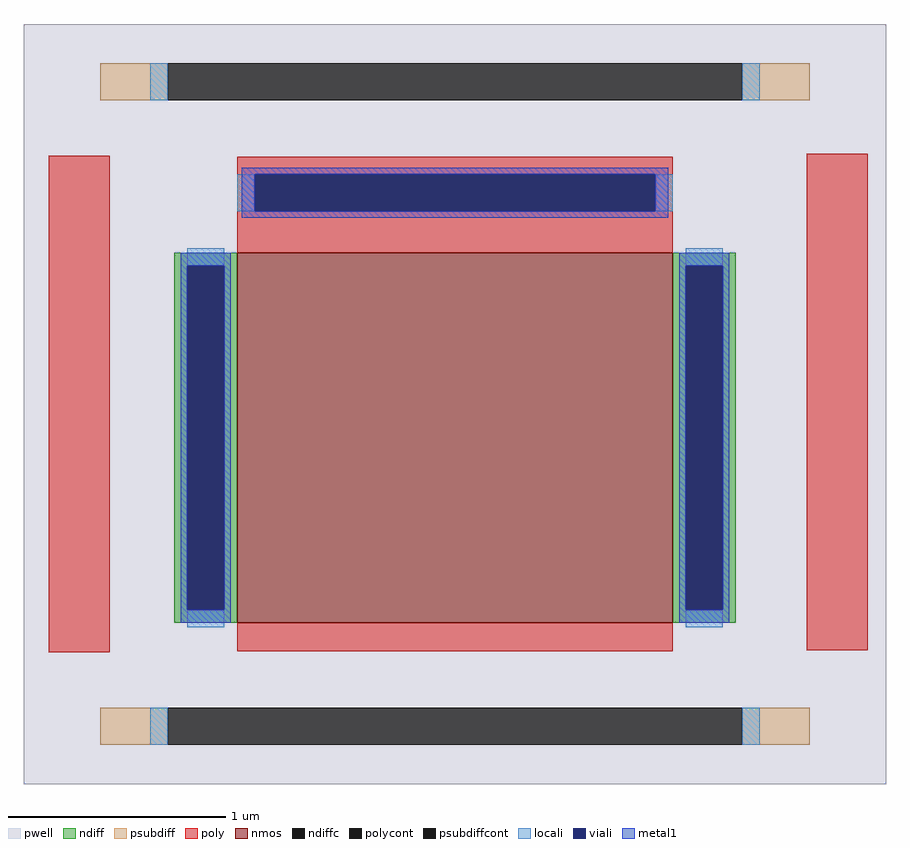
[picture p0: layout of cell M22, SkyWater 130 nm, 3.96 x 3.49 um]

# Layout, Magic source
magic
tech sky130B
magscale 1 2
<< pwell >>
rect -396 -349 396 349
<< nmos >>
rect -200 -201 200 139
<< ndiff >>
rect -258 127 -200 139
rect -258 -189 -246 127
rect -212 -189 -200 127
rect -258 -201 -200 -189
rect 200 127 258 139
rect 200 -189 212 127
rect 246 -189 258 127
rect 200 -201 258 -189
<< ndiffc >>
rect -246 -189 -212 127
rect 212 -189 246 127
<< psubdiff >>
rect -326 279 -264 313
rect 264 279 326 313
rect -326 -313 -264 -279
rect 264 -313 326 -279
<< psubdiffcont >>
rect -264 279 264 313
rect -264 -313 264 -279
<< poly >>
rect -373 -228 -317 228
rect -200 211 200 227
rect -200 177 -184 211
rect 184 177 200 211
rect -200 139 200 177
rect -200 -227 200 -201
rect 323 -226 379 230
<< polycont >>
rect -184 177 184 211
<< locali >>
rect -280 279 -264 313
rect 264 279 280 313
rect -200 177 -184 211
rect 184 177 200 211
rect -246 127 -212 143
rect -246 -205 -212 -189
rect 212 127 246 143
rect 212 -205 246 -189
rect -280 -313 -264 -279
rect 264 -313 280 -279
<< viali >>
rect -184 177 184 211
rect -246 -189 -212 127
rect 212 -189 246 127
<< metal1 >>
rect -196 211 196 217
rect -196 177 -184 211
rect 184 177 196 211
rect -196 171 196 177
rect -252 127 -206 139
rect -252 -189 -246 127
rect -212 -189 -206 127
rect -252 -201 -206 -189
rect 206 127 252 139
rect 206 -189 212 127
rect 246 -189 252 127
rect 206 -201 252 -189
<< properties >>
string FIXED_BBOX -343 -296 343 296
string gencell sky130_fd_pr__nfet_01v8
string library sky130
string parameters w 1.7 l 2 m 1 nf 1 diffcov 100 polycov 100 guard 1 glc 0 grc 0 gtc 1 gbc 1 tbcov 100 rlcov 100 topc 1 botc 0 poverlap 0 doverlap 1 lmin 0.15 wmin 0.42 compatible {sky130_fd_pr__nfet_01v8 sky130_fd_pr__nfet_01v8_lvt  sky130_fd_bs_flash__special_sonosfet_star  sky130_fd_pr__nfet_g5v0d10v5 sky130_fd_pr__nfet_05v0_nvt  sky130_fd_pr__nfet_03v3_nvt} full_metal 0 viasrc 100 viadrn 100 viagate 100 viagb 0 viagr 0 viagl 0 viagt 0
<< end >>
